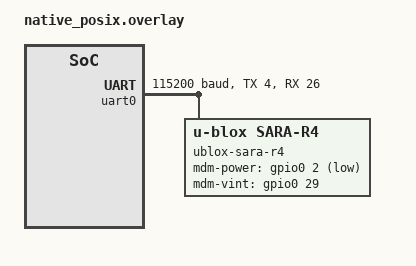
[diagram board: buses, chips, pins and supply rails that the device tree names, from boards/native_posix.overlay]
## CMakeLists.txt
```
# SPDX-License-Identifier: Apache-2.0

cmake_minimum_required(VERSION 3.20.0)



list(APPEND ZEPHYR_EXTRA_MODULES
        ${CMAKE_CURRENT_SOURCE_DIR}/../../../src/drivers/modem_nf
        ${CMAKE_CURRENT_SOURCE_DIR}/../mock
        )

find_package(Zephyr REQUIRED HINTS $ENV{ZEPHYR_BASE})

project(modem_testing)

zephyr_include_directories(${CMAKE_CURRENT_BINARY_DIR}
                            ${CMAKE_CURRENT_BINARY_DIR}/mock)

include_directories(${CMAKE_CURRENT_SOURCE_DIR}/../../include
                    ${CMAKE_CURRENT_SOURCE_DIR}/../../src/drivers/modem_nf/zephyr
                    ${CMAKE_CURRENT_SOURCE_DIR}/mock
                    ${CMAKE_CURRENT_SOURCE_DIR}/src)

FILE(GLOB app_sources 
    src/*.c
    mock/*.c)
target_sources(app PRIVATE ${app_sources})
target_include_directories(app PRIVATE ${APP_SOURCE})
```

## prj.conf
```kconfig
CONFIG_DEBUG=y
CONFIG_NO_OPTIMIZATIONS=y
CONFIG_ZTEST=y
CONFIG_ZTEST_MOCKING=y
CONFIG_COVERAGE=y
CONFIG_NEWLIB_LIBC=y

CONFIG_HEAP_MEM_POOL_SIZE=16384

CONFIG_SERIAL_MOCK=y
CONFIG_MODEM=y
CONFIG_MODEM_UBLOX_SARA_RSSI_WORK=n
CONFIG_MODEM_LOG_LEVEL_DBG=y
CONFIG_MODEM_CONTEXT_VERBOSE_DEBUG=y
CONFIG_MODEM_UBLOX_INIT_RESET=n
CONFIG_MODEM_UBLOX_SARA=n
CONFIG_MODEM_UBLOX_SARA_NF=y
CONFIG_MODEM_UBLOX_SARA_R4=y

CONFIG_NETWORKING=y
CONFIG_NET_SOCKETS=y
CONFIG_NET_OFFLOAD=y
CONFIG_NET_SOCKETS_OFFLOAD=y
CONFIG_NET_IPV4=y
CONFIG_NET_TCP=y
CONFIG_NET_NATIVE=n


CONFIG_GPIO=y
CONFIG_GPIO_EMUL=y
```

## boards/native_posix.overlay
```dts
/* Copyright (c) 2020 Nordic Semiconductor ASA
 * SPDX-License-Identifier: Apache-2.0
 */

/ {
	aliases {
		modem = &modem;
		modemuart = &modem_uart;
		dummy-extint = &gpio0;
	};
	chosen {
          zephyr,nofence = &gpio0;
        };
};

&gpio0 {
	status = "okay";
};

modem_uart: &uart0 {
	compatible = "nofence,mock-uart";
	current-speed = <115200>;
	status = "okay";
	tx-pin = <4>; /* P0.04 */
	rx-pin = <26>; /* P0.26 */
	rx-pull-up;
	modem: sara_r4 {
		compatible = "u-blox,sara-r4";
		label = "ublox-sara-r4";
		status = "okay";
		mdm-power-gpios = <&gpio0 2 GPIO_ACTIVE_LOW>;
		/* mdm-reset-gpios = <&gpio1 10 GPIO_ACTIVE_HIGH>; */
		mdm-vint-gpios = <&gpio0 29 GPIO_ACTIVE_HIGH>;
	};
};
```

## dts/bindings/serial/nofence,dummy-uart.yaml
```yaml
description: Mocked UART device

compatible: "nofence,mock-uart"

include: uart-controller.yaml
properties:
  reg:
    required: false

  interrupts:
    required: false

  tx-pin:
    type: int
    required: true
    description: |
      The TX pin to use.
      
      For pins P0.0 through P0.31, use the pin number. For example,
      to use P0.16 for TX, set:
      
          tx-pin = <16>;
      
      For pins P1.0 through P1.31, add 32 to the pin number. For
      example, to use P1.2 for TX, set:
      
          tx-pin = <34>;  /* 32 + 2 */

  rx-pin:
    type: int
    required: false
    description: |
      The RX pin to use. The pin numbering scheme is the same as the
      tx-pin property's.

  rts-pin:
    type: int
    required: false
    description: |
      The RTS pin to use. The pin numbering scheme is the same as the
      tx-pin property's.

  cts-pin:
    type: int
    required: false
    description: |
      The CTS pin to use. The pin numbering scheme is the same as the
      tx-pin property's.

  current-speed:
    description: |
      Initial baud rate setting for UART. Only a fixed set of baud
      rates are selectable on these devices.
    enum:
      - 1200
      - 2400
      - 4800
      - 9600
      - 14400
      - 19200
      - 28800
      - 31250
      - 38400
      - 56000
      - 57600
      - 76800
      - 115200
      - 230400
      - 250000
      - 460800
      - 921600
      - 1000000

  rx-pull-up:
    type: boolean
    required: false
    description: Enable pull-up resistor on the RX pin.

  cts-pull-up:
    type: boolean
    required: false
    description: Enable pull-up resistor on the CTS pin.
```

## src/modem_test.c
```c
#include <ztest.h>
#include <zephyr.h>
#include <device.h>
#include <drivers/gpio.h>
#include <drivers/gpio/gpio_emul.h>
#include <net/net_if.h>
#include <net/socket.h>
#include <modem_nf.h>
#include <modem_context.h>
#include "uart_mock.h"

/* TODO, refactor the forked modem driver so we don't need externals */

#define MODEM_VERBOSE

struct k_sem listen_sem;

static K_MUTEX_DEFINE(at_mutex);

/* Holds information of expected commands and responses */
#define MODEM_CMD_RESP_MAX 200

typedef struct modem_cmd_resp_t {
	char *cmd;
	char *rsp;
	k_timeout_t response_delay;

} modem_cmd_resp_t;

static modem_cmd_resp_t cmd_resp[MODEM_CMD_RESP_MAX];
static uint32_t cmd_resp_cnt = 0;
uint32_t cmd_resp_ind = 0;

/* Signals that CMD/RESP has completed successfully */
static struct k_sem modem_sem;

const struct device *uart_dev = DEVICE_DT_GET(DT_ALIAS(modemuart));
const struct device *modem_dev = DEVICE_DT_GET(DT_ALIAS(modem));
const struct device *gpio0_dev = DEVICE_DT_GET(DT_NODELABEL(gpio0));

#define MDM_VINT_PIN DT_GPIO_PIN(DT_NODELABEL(modem), mdm_vint_gpios)

/* Parser thread structures */
K_KERNEL_STACK_DEFINE(modem_dev_stack, 2048);
struct k_thread modem_dev_thread;

/* Signals UART data incoming */
static struct k_sem modem_rx_sem;

/* Re-usable socket ID */
static int socket_id;

static void modem_clear_cmd_rsp()
{
	k_mutex_lock(&at_mutex, K_FOREVER);
	k_sem_reset(&modem_rx_sem);
	memset(&cmd_resp, 0, sizeof(cmd_resp));
	cmd_resp_cnt = 0;
	cmd_resp_ind = 0;
	k_mutex_unlock(&at_mutex);
}
/**
 * @brief Adds expected command&response in buffer
 *
 * @param[in] cmd Expected AT command string
 * @param[in] rsp AT response to send on receiving command
 * @param[in] delay, delay the thread should hang before replying
 *
 * @return 0 if everything was ok, error code otherwise
 */
static int modem_add_expected_cmd_rsp_delay(const char *cmd, const char *rsp, k_timeout_t delay)
{
	k_mutex_lock(&at_mutex, K_FOREVER);
	int ret = -ENOBUFS;
	size_t cmd_size = strlen(cmd) + 1;
	size_t rsp_size = strlen(rsp) + 1;
	if (cmd_resp_cnt < MODEM_CMD_RESP_MAX) {
		cmd_resp[cmd_resp_cnt].response_delay = delay;
		if (cmd != NULL) {
			cmd_resp[cmd_resp_cnt].cmd = k_malloc(cmd_size);
			strncpy(cmd_resp[cmd_resp_cnt].cmd, cmd, cmd_size);
		} else {
			cmd_resp[cmd_resp_cnt].cmd = NULL;
		}

		if (rsp != NULL) {
			cmd_resp[cmd_resp_cnt].rsp = k_malloc(rsp_size);
			strncpy(cmd_resp[cmd_resp_cnt].rsp, rsp, rsp_size);
		} else {
			cmd_resp[cmd_resp_cnt].rsp = NULL;
		}

		cmd_resp_cnt++;
		ret = 0;
	} else {
		ztest_test_fail();
	}
	k_mutex_unlock(&at_mutex);
	return ret;
}

/**
 * @brief Check data for expected cmd with no delay
 *
 * @param[in] data Data buffer holding data
 * @param[in] size Size of data in buffer
 *
 * @return 0 if everything was ok, error code otherwise
 */
static int modem_add_expected_cmd_rsp(const char *cmd, const char *rsp)
{
	return modem_add_expected_cmd_rsp_delay(cmd, rsp, K_NO_WAIT);
}

static int modem_process_cmd_resp(uint8_t *data, uint32_t size)
{
	if (cmd_resp[cmd_resp_ind].cmd && size == strlen(cmd_resp[cmd_resp_ind].cmd)) {
#ifdef MODEM_VERBOSE
		printk("Parsed DATA: %.*s\n", size, data);
#endif
		if (strncmp(cmd_resp[cmd_resp_ind].cmd, data, size) == 0) {
#ifdef MODEM_VERBOSE

			printk("\nMATCH! %s returns %s\n", cmd_resp[cmd_resp_ind].cmd,
			       cmd_resp[cmd_resp_ind].rsp);
#endif
			if (cmd_resp[cmd_resp_ind].rsp) {
				k_sleep(cmd_resp[cmd_resp_ind].response_delay);
				mock_uart_send(uart_dev, cmd_resp[cmd_resp_ind].rsp,
					       strlen(cmd_resp[cmd_resp_ind].rsp));
			}

			cmd_resp_ind++;

			if (cmd_resp_ind == cmd_resp_cnt) {
				k_sem_give(&modem_sem);
			}
			return 0;
		} else {
			/* FAILED */
#ifdef MODEM_VERBOSE
			printk("FAILED, expected:\r\n");
			for (int i = 0; i < size; i++) {
				printk("0x%02X ", cmd_resp[cmd_resp_ind].cmd[i]);
			}
			printk("\r\n");
#endif
			return -ECOMM;
		}
	}

	return -EAGAIN;
}

/**
 * @brief Send out responses/data that do not expect commands first
 *
 * @return 0 if everything was ok, error code otherwise
 */
static int modem_process_empty_cmd_resp(void)
{
	if (cmd_resp_ind < cmd_resp_cnt) {
		if (cmd_resp[cmd_resp_ind].cmd != NULL && strlen(cmd_resp[cmd_resp_ind].cmd) == 0) {
			if (cmd_resp[cmd_resp_ind].rsp != NULL &&
			    strlen(cmd_resp[cmd_resp_ind].rsp) > 0) {
				k_sleep(cmd_resp[cmd_resp_ind].response_delay);
				mock_uart_send(uart_dev, cmd_resp[cmd_resp_ind].rsp,
					       strlen(cmd_resp[cmd_resp_ind].rsp));
			}
			cmd_resp_ind++;
			if (cmd_resp_ind == cmd_resp_cnt) {
				k_sem_give(&modem_sem);
			}
		}
	}

	return 0;
}

/**
 * @brief MODEM device simulator thread, handles expected command&response
 *        buffer and communication
 *
 * @param[in] dev Unused
 *
 */

static void modem_dev_sim(void *dev)
{
	uint32_t size = 0;
	uint32_t total_size = 0;
	uint8_t data[100];
	int unit_test_timeout_count = 0;

	while (true) {
		k_mutex_lock(&at_mutex, K_FOREVER);
		if (k_sem_take(&modem_rx_sem, K_MSEC(10)) == 0) {
			unit_test_timeout_count = 0;
			mock_uart_receive(uart_dev, &data[total_size], &size, sizeof(data), true);
			total_size += size;
			if (total_size > 0) {
				if (modem_process_cmd_resp(data, total_size) == 0) {
					total_size = 0;
				}
			}

		} else {
			unit_test_timeout_count++;
			modem_process_empty_cmd_resp();
		}
		k_mutex_unlock(&at_mutex);
		zassert_true(unit_test_timeout_count < 10000, "Detected test hang");
	}
}

/**
 * Test a happy scenario socket create, mostly to verify that the UART emulator
 * is working as expected
 */
static void test_simple_socket_connect()
{
	int ret;
	socket_id = socket(AF_INET, SOCK_STREAM, IPPROTO_TCP);
	zassert_equal(socket_id, 0, "");

	struct sockaddr_in addr4;
	addr4.sin_family = AF_INET;
	addr4.sin_port = htons(1234);
	inet_pton(AF_INET, "192.168.1.1", &addr4.sin_addr);

	modem_add_expected_cmd_rsp("AT+USOCR=6\r", "+USOCR: 2\rOK\r");
	modem_add_expected_cmd_rsp("AT+USOSO=2,65535,128,1,3000\r", "OK\r");
	modem_add_expected_cmd_rsp("AT+USOCO=2,\"192.168.1.1\",1234\r", "OK\r");

	ret = connect(socket_id, (const struct sockaddr *)&addr4, sizeof(addr4));
	zassert_equal(ret, 0, "");
	zassert_equal(k_sem_take(&modem_sem, K_MSEC(1000)), 0, "");
}

/**
 * Test simple socket recv
 */
static void test_simple_socket_recv()
{
	int ret;
	char buf[100];
	memset(buf, 0, sizeof(buf));
	zassert_equal(socket_id, 0, "");
	modem_add_expected_cmd_rsp("", "+UUSORD:  2,10\r");
	modem_add_expected_cmd_rsp("AT+USORD=2,10\r", "+USORD:  2,10,\"0123456789\"\r"
						      "OK\r");
	ret = recv(socket_id, buf, sizeof(buf), 0);
	zassert_equal(ret, 10, "");
	zassert_mem_equal(buf, "0123456789", 10, "");
}

/**
 * Test socket receive when the +UUSORD is missing.
 * @see XF-293
 */
static void test_socket_recv_missing_urc()
{
	int ret;
	char buf[10];
	memset(buf, 0, sizeof(buf));
	zassert_equal(socket_id, 0, "");
	/* Check timeout on recv */
	modem_add_expected_cmd_rsp("AT+USORD=2,10\r", "+USORD:  2,\"\"\r"
						      "OK\r");
	modem_add_expected_cmd_rsp("AT+USORD=2,10\r", "+UUSO\r"
						      "+USORD:  2,10,\"0123456789\"\r"
						      "OK\r");
	ret = recv(socket_id, buf, sizeof(buf), 0);

	zassert_equal(ret, 10, "");
	zassert_mem_equal(buf, "0123456789", 10, "");
}

/**
 * Plays a modem reset function. I.e. emulate AT response to
 * all expected AT-commands sent from the SARA-R4 modem reset function
 * @note: If you change any commands in the modem, this function will break.
 * @param work the k_work
 */
static void play_modem_reset_at_response_fnc(struct k_work *work)
{
	/* Pretend modem vint goes high */
	gpio_emul_input_set(gpio0_dev, MDM_VINT_PIN, 1);
	k_sleep(K_SECONDS(1));
	/* Pin 26 is rx-pin */
	gpio_emul_input_set(gpio0_dev, 26, 1);
	modem_add_expected_cmd_rsp("AT\r", "OK\r");
	modem_add_expected_cmd_rsp("ATE0\r", "OK\r");
	modem_add_expected_cmd_rsp("AT+UMNOPROF=100\r", "OK\r");
	modem_add_expected_cmd_rsp("AT+CFUN=15\r", "OK\r");
	modem_add_expected_cmd_rsp("AT\r", "OK\r");
	modem_add_expected_cmd_rsp("ATE0\r", "OK\r");
	modem_add_expected_cmd_rsp("AT+COPS=2\r", "OK\r");
	modem_add_expected_cmd_rsp("AT+URAT=7,9\r", "OK\r");
	modem_add_expected_cmd_rsp("AT+CPSMS=0\r", "OK\r");
	/* modem_add_expected_cmd_rsp("AT+UBANDMASK=0,526494,2\r", "OK\r"); */
	modem_add_expected_cmd_rsp("AT+CFUN=15\r", "OK\r");
	modem_add_expected_cmd_rsp("AT\r", "OK\r");
	/* @todo: bug in driverc?, why 2 ATE0 necessary here ? */
	modem_add_expected_cmd_rsp("ATE0\r", "OK\r");
	modem_add_expected_cmd_rsp("ATE0\r", "OK\r");
	modem_add_expected_cmd_rsp("AT+CRSM=214,28531,0,0,14,"
				   "\"FFFFFFFFFFFFFFFFFFFFFFFFFFFF\"\r",
				   "OK\r");
	modem_add_expected_cmd_rsp("AT+CRSM=214, 28539, 0, 0, 12,"
				   "\"FFFFFFFFFFFFFFFFFFFFFFFF\"\r",
				   "OK\r");
	modem_add_expected_cmd_rsp("AT+CFUN=0\r", "OK\r");
	modem_add_expected_cmd_rsp("AT+CMEE=1\r", "OK\r");
	modem_add_expected_cmd_rsp("AT+CREG=1\r", "OK\r");

	modem_add_expected_cmd_rsp("AT+CGMI\r", "u-blox\r"
						"OK\r");
	modem_add_expected_cmd_rsp("AT+CGMM\r", "SARA-R422S\r"
						"OK\r");
	modem_add_expected_cmd_rsp("AT+CGMR\r", "00.12\r"
						"OK\r");
	modem_add_expected_cmd_rsp("ATI0\r", "SARA-R422S-00B-00\r"
					     "OK\r");
	modem_add_expected_cmd_rsp("AT+CGSN\r", "355439110049898\r"
						"OK\r");
	modem_add_expected_cmd_rsp("AT+CIMI\r", "240075815498371\r"
						"OK\r");
	modem_add_expected_cmd_rsp("AT+CCID\r", "89462038007006878224\r"
						"OK\r");
	modem_add_expected_cmd_rsp("AT+CGDCONT=1,\"IP\",\"hologram\"\r", "OK\r");
	modem_add_expected_cmd_rsp("AT+CFUN=1\r", "OK\r");
	modem_add_expected_cmd_rsp("ATE0\r", "OK\r");
	modem_add_expected_cmd_rsp("AT+UPSV=0\r", "OK\r");
	modem_add_expected_cmd_rsp("AT+UPSV?\r", "+UPSV: 0\r"
						 "OK\r");
	modem_add_expected_cmd_rsp("AT+COPS=0,2\r", "OK\r");
	modem_add_expected_cmd_rsp("AT+CFUN=0\r", "OK\r");
	modem_add_expected_cmd_rsp("AT+CFUN=1\r", "OK\r"
						  "+CREG: 1\r");
	/* @todo why two ATE0 ? */
	modem_add_expected_cmd_rsp("ATE0\r", "OK\r");
	modem_add_expected_cmd_rsp("ATE0\r", "OK\r");
	modem_add_expected_cmd_rsp("AT+CSQ\r", "+CSQ: 25,99\r"
					       "OK\r");
	modem_add_expected_cmd_rsp("AT+URAT?\r", "+URAT: 7 ,9\r"
						 "OK\r");
	modem_add_expected_cmd_rsp("AT+COPS?\r", "+COPS: 0 ,2,\"24202\",3\r"
						 "OK\r");
	modem_add_expected_cmd_rsp("AT+UPSD=0,0,0\r", "OK\r");
	modem_add_expected_cmd_rsp("AT+UPSD=0,100,1\r", "OK\r");
	modem_add_expected_cmd_rsp("AT+CGACT=1,1\r", "OK\r");
	modem_add_expected_cmd_rsp("AT+CGACT?\r", "+CGACT: 1,1\r"
						  "OK\r");
}

static void play_modem_reset_in_workqueue()
{
	static struct k_work_delayable play_delayable;
	k_work_init_delayable(&play_delayable, play_modem_reset_at_response_fnc);
	k_work_reschedule(&play_delayable, K_SECONDS(50));
}

static int modem_read_status_nvm(uint8_t *status)
{
	*status = 0xFF;
	return 0;
}

static int modem_write_status_nvm(uint8_t status)
{
	return 0;
}

static void test_modem_nf_get_model_and_fw_version()
{
	modem_clear_cmd_rsp();
	set_modem_status_cb(modem_read_status_nvm, modem_write_status_nvm);
	const char *model;
	const char *version;
	/* Be sure to clean internal modem data structure */
	struct modem_context *ctx = modem_context_from_id(0);
	ctx->data_model[0] = '\0';
	ctx->data_revision[0] = '\0';
	/* play the modem reset */
	play_modem_reset_in_workqueue();
	/* check values */
	int ret = modem_nf_get_model_and_fw_version(&model, &version);
	zassert_equal(ret, -ENODATA, "");
	ret = modem_nf_reset();
	zassert_equal(ret, 0, "");
	ret = modem_nf_get_model_and_fw_version(&model, &version);
	zassert_equal(ret, 0, "");
	zassert_true(strcmp(model, "SARA-R422S-00B-00") == 0, model);
	zassert_true(strcmp(version, "00.12") == 0, version);
	zassert_equal(k_sem_take(&modem_sem, K_MSEC(1000)), 0, "");
}

/**
 * @brief Test the happy, normal operation of the FTP download
 */
static void test_modem_nf_ftp_fw_download_success()
{
	struct modem_nf_uftp_params params = { .ftp_server = "999.888.777.666",
					       .ftp_user = "ftp_user",
					       .ftp_password = "ftp_password",
					       .download_timeout_sec = 0 };
	modem_clear_cmd_rsp();
	modem_add_expected_cmd_rsp("AT+UFTP=0,\"999.888.777.666\"\r", "OK\r");
	modem_add_expected_cmd_rsp("AT+UFTP=2,\"ftp_user\"\r", "OK\r");
	modem_add_expected_cmd_rsp("AT+UFTP=3,\"ftp_password\"\r", "OK\r");

	modem_add_expected_cmd_rsp("AT+UFTPC=1\r", "OK\r");
	modem_add_expected_cmd_rsp_delay("", "+UUFTPCR: 1,1\r", K_SECONDS(59));

	modem_add_expected_cmd_rsp("AT+UFTPC=100,\"test_file_123.udf\"\r", "OK\r");
	modem_add_expected_cmd_rsp_delay(
		"", "+UUFTPCR: 100,1,\"91aac9bf3c59d06cf22d92d40a0ee84c\"\r", K_SECONDS(3600 - 1));

	int ret = modem_nf_ftp_fw_download(&params, "test_file_123.udf");
	zassert_equal(ret, 0, "");
	zassert_equal(k_sem_take(&modem_sem, K_MSEC(1000)), 0, "");
}

/**
 * @brief test NULL parameters
 */
static void test_modem_nf_ftp_fw_download_null_params()
{
	struct modem_nf_uftp_params params = { .ftp_server = "999.888.777.666",
					       .ftp_user = "ftp_user",
					       .ftp_password = "ftp_password",
					       .download_timeout_sec = 0 };
	modem_clear_cmd_rsp();
	int ret = modem_nf_ftp_fw_download(NULL, "test_file_123.udf");
	zassert_equal(ret, -EINVAL, "");
	ret = modem_nf_ftp_fw_download(&params, NULL);
	zassert_equal(ret, -EINVAL, "");
}

/**
 * @brief test that AT setup commands fail, e.g. due to dead modem
 */
static void test_modem_nf_ftp_fw_download_setup_fails()
{
	struct modem_nf_uftp_params params = { .ftp_server = "999.888.777.666",
					       .ftp_user = "ftp_user",
					       .ftp_password = "ftp_password",
					       .download_timeout_sec = 3600 };
	modem_clear_cmd_rsp();
	modem_add_expected_cmd_rsp("AT+UFTP=0,\"999.888.777.666\"\r", "ERROR\r");
	int ret = modem_nf_ftp_fw_download(&params, "test_file_123.udf");
	zassert_equal(ret, -EIO, "");
	zassert_equal(k_sem_take(&modem_sem, K_MSEC(1000)), 0, "");
}

/**
 * @brief Test the FTP download when we timeout on a "connect"
 */
static void test_modem_nf_ftp_fw_download_timeout_connect()
{
	struct modem_nf_uftp_params params = { .ftp_server = "999.888.777.666",
					       .ftp_user = "ftp_user",
					       .ftp_password = "ftp_password",
					       .download_timeout_sec = 3600 };
	modem_clear_cmd_rsp();
	modem_add_expected_cmd_rsp("AT+UFTP=0,\"999.888.777.666\"\r", "OK\r");
	modem_add_expected_cmd_rsp("AT+UFTP=2,\"ftp_user\"\r", "OK\r");
	modem_add_expected_cmd_rsp("AT+UFTP=3,\"ftp_password\"\r", "OK\r");

	modem_add_expected_cmd_rsp("AT+UFTPC=1\r", "OK\r");
	modem_add_expected_cmd_rsp_delay("", "+UUFTPCR: 1,1\r", K_SECONDS(61));

	int ret = modem_nf_ftp_fw_download(&params, "test_file_123.udf");
	zassert_equal(ret, -ETIMEDOUT, "");
	/* Assert that the last URC was delivered too late to read */
	k_sem_take(&modem_sem, K_MSEC(1000));
	zassert_equal(cmd_resp_ind, cmd_resp_cnt - 1, "");
}

/**
 * @brief Test the FTP download when the connection is refused
 */
static void test_modem_nf_ftp_fw_download_connect_refused()
{
	struct modem_nf_uftp_params params = { .ftp_server = "999.888.777.666",
					       .ftp_user = "ftp_user",
					       .ftp_password = "ftp_password",
					       .download_timeout_sec = 3600 };
	modem_clear_cmd_rsp();
	modem_add_expected_cmd_rsp("AT+UFTP=0,\"999.888.777.666\"\r", "OK\r");
	modem_add_expected_cmd_rsp("AT+UFTP=2,\"ftp_user\"\r", "OK\r");
	modem_add_expected_cmd_rsp("AT+UFTP=3,\"ftp_password\"\r", "OK\r");

	modem_add_expected_cmd_rsp("AT+UFTPC=1\r", "OK\r");
	modem_add_expected_cmd_rsp_delay("", "+UUFTPCR: 1,0\r", K_SECONDS(1));

	int ret = modem_nf_ftp_fw_download(&params, "test_file_123.udf");
	zassert_equal(ret, -ECONNREFUSED, "");
	k_sem_take(&modem_sem, K_MSEC(1000));
}

/**
 * @brief Test the FTP download when we timeout on the file tranfer
 */
static void test_modem_nf_ftp_fw_download_timeout_transfer()
{
	struct modem_nf_uftp_params params = { .ftp_server = "999.888.777.666",
					       .ftp_user = "ftp_user",
					       .ftp_password = "ftp_password",
					       .download_timeout_sec = 3600 };
	modem_clear_cmd_rsp();

	modem_add_expected_cmd_rsp("AT+UFTP=0,\"999.888.777.666\"\r", "OK\r");
	modem_add_expected_cmd_rsp("AT+UFTP=2,\"ftp_user\"\r", "OK\r");
	modem_add_expected_cmd_rsp("AT+UFTP=3,\"ftp_password\"\r", "OK\r");

	modem_add_expected_cmd_rsp("AT+UFTPC=1\r", "OK\r");
	modem_add_expected_cmd_rsp_delay("", "+UUFTPCR: 1,1\r", K_SECONDS(59));

	modem_add_expected_cmd_rsp("AT+UFTPC=100,\"test_file_123.udf\"\r", "OK\r");
	modem_add_expected_cmd_rsp_delay(
		"", "+UUFTPCR: 100,1,\"91aac9bf3c59d06cf22d92d40a0ee84c\"\r", K_SECONDS(3600 + 1));

	int ret = modem_nf_ftp_fw_download(&params, "test_file_123.udf");
	zassert_equal(ret, -ETIMEDOUT, "");
	/* Assert that the last URC was delivered too late to read */
	k_sem_take(&modem_sem, K_MSEC(1000));
	zassert_equal(cmd_resp_ind, cmd_resp_cnt - 1, "");
}

/**
 * @brief Test the FTP download when the file transfer +UUFTPCR indicates error
 */
static void test_modem_nf_ftp_fw_download_error_transfer()
{
	struct modem_nf_uftp_params params = { .ftp_server = "999.888.777.666",
					       .ftp_user = "ftp_user",
					       .ftp_password = "ftp_password",
					       .download_timeout_sec = 3600 };
	modem_clear_cmd_rsp();

	modem_add_expected_cmd_rsp("AT+UFTP=0,\"999.888.777.666\"\r", "OK\r");
	modem_add_expected_cmd_rsp("AT+UFTP=2,\"ftp_user\"\r", "OK\r");
	modem_add_expected_cmd_rsp("AT+UFTP=3,\"ftp_password\"\r", "OK\r");

	modem_add_expected_cmd_rsp("AT+UFTPC=1\r", "OK\r");
	modem_add_expected_cmd_rsp_delay("", "+UUFTPCR: 1,1\r", K_SECONDS(59));

	modem_add_expected_cmd_rsp("AT+UFTPC=100,\"test_file_123.udf\"\r", "OK\r");
	modem_add_expected_cmd_rsp_delay("", "+UUFTPCR: 100,0\r", K_SECONDS(1));

	int ret = modem_nf_ftp_fw_download(&params, "test_file_123.udf");
	zassert_equal(ret, -EIO, "");
	k_sem_take(&modem_sem, K_MSEC(1000));
}

void test_main(void)
{
	zassert_not_null(gpio0_dev, "GPIO is null");
	k_sem_init(&modem_rx_sem, 0, 1);
	mock_uart_register_sem(uart_dev, &modem_rx_sem);

	k_sem_init(&modem_sem, 0, 1);

	/* Start dev thread */
	k_thread_create(&modem_dev_thread, modem_dev_stack, K_KERNEL_STACK_SIZEOF(modem_dev_stack),
			(k_thread_entry_t)modem_dev_sim, (void *)modem_dev, NULL, NULL,
			K_PRIO_COOP(2), 0, K_NO_WAIT);

	ztest_test_suite(common, ztest_unit_test(test_simple_socket_connect),
			 ztest_unit_test(test_simple_socket_recv),
			 ztest_unit_test(test_socket_recv_missing_urc),
			 ztest_unit_test(test_modem_nf_get_model_and_fw_version),
			 ztest_unit_test(test_modem_nf_ftp_fw_download_success),
			 ztest_unit_test(test_modem_nf_ftp_fw_download_null_params),
			 ztest_unit_test(test_modem_nf_ftp_fw_download_setup_fails),
			 ztest_unit_test(test_modem_nf_ftp_fw_download_connect_refused),
			 ztest_unit_test(test_modem_nf_ftp_fw_download_error_transfer),
			 ztest_unit_test(test_modem_nf_ftp_fw_download_timeout_connect),
			 ztest_unit_test(test_modem_nf_ftp_fw_download_timeout_transfer)

	);
	ztest_run_test_suite(common);
}
```
